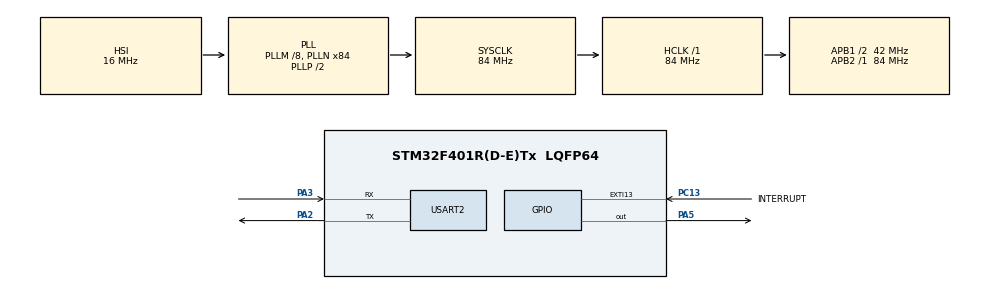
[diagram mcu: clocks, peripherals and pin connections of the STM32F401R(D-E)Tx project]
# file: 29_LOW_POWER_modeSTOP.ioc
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Mcu.Family=STM32F4
Mcu.Name=STM32F401R(D-E)Tx
Mcu.Package=LQFP64
NVIC.EXTI15_10_IRQn=true\:0\:0\:false\:false\:true\:true\:true\:true
NVIC.PriorityGroup=NVIC_PRIORITYGROUP_4
NVIC.USART2_IRQn=true\:0\:0\:false\:false\:true\:true\:true\:true
PA13.Mode=Serial_Wire
PA13.Signal=SYS_JTMS-SWDIO
PA14.Mode=Serial_Wire
PA14.Signal=SYS_JTCK-SWCLK
PA2.Mode=Asynchronous
PA2.Signal=USART2_TX
PA3.Mode=Asynchronous
PA3.Signal=USART2_RX
PA5.Signal=GPIO_Output
PC13-ANTI_TAMP.GPIO_Label=INTERRUPT
PC13-ANTI_TAMP.GPIO_ModeDefaultEXTI=GPIO_MODE_IT_FALLING
PC13-ANTI_TAMP.GPIO_PuPd=GPIO_PULLUP
PC13-ANTI_TAMP.Signal=GPXTI13
PH0\ -\ OSC_IN.Mode=HSE-External-Clock-Source
PH0\ -\ OSC_IN.Signal=RCC_OSC_IN
PH1\ -\ OSC_OUT.Mode=HSE-External-Clock-Source
PH1\ -\ OSC_OUT.Signal=RCC_OSC_OUT
ProjectManager.HeapSize=0x200
ProjectManager.StackSize=0x400
ProjectManager.TargetToolchain=STM32CubeIDE
RCC.48MHZClocksFreq_Value=42000000
RCC.AHBFreq_Value=84000000
RCC.APB1CLKDivider=RCC_HCLK_DIV2
RCC.APB1Freq_Value=42000000
RCC.APB1TimFreq_Value=84000000
RCC.APB2Freq_Value=84000000
RCC.APB2TimFreq_Value=84000000
RCC.CortexFreq_Value=84000000
RCC.HCLKFreq_Value=84000000
RCC.HSE_VALUE=8000000
RCC.HSI_VALUE=16000000
RCC.LSE_VALUE=32768
RCC.PLLM=8
RCC.PLLN=84
RCC.SYSCLKFreq_VALUE=84000000
RCC.SYSCLKSource=RCC_SYSCLKSOURCE_PLLCLK
RCC.VCOOutputFreq_Value=168000000
USART2.VirtualMode=VM_ASYNC
board=custom

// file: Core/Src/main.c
/* USER CODE BEGIN Header */
/**
  ******************************************************************************
  * @file           : main.c
  * @brief          : Main program body
  ******************************************************************************
  * @attention
  *
  * Copyright (c) 2024 STMicroelectronics.
  * All rights reserved.
  *
  * This software is licensed under terms that can be found in the LICENSE file
  * in the root directory of this software component.
  * If no LICENSE file comes with this software, it is provided AS-IS.
  *
  ******************************************************************************
  */
/* USER CODE END Header */
#include "main.h"
#include "usart.h"
#include "gpio.h"

/* USER CODE BEGIN Includes */
#include "string.h"
#include <stdio.h>
#include "stdbool.h"
/* USER CODE END Includes */

/* USER CODE BEGIN PV */
uint8_t * MSG_Stop1 = {0};
uint8_t * MSG_Stop2 = {0};
bool Bandera = false;
uint8_t rx;
/* USER CODE END PV */

void SystemClock_Config(void);

int main(void)
{

  /* MCU Configuration--------------------------------------------------------*/

  /* Reset of all peripherals, Initializes the Flash interface and the Systick. */
  HAL_Init();

  /* Configure the system clock */
  SystemClock_Config();

  /* Initialize all configured peripherals */
  MX_GPIO_Init();
  MX_USART2_UART_Init();
  /* USER CODE BEGIN 2 */

  //EL MODO STOP SOLO FUNCIONA CON LAS INTERRUPCIONES EXTI
  for(uint8_t var = 0; var <20; ++var){
	  	  GPIOA->ODR ^= (1<<5);
	  	  HAL_Delay(200);
	  	}

   MSG_Stop1 = "entrando al MODO STOP zzz en 5 segunodos\n\r";
   HAL_UART_Transmit(&huart2, MSG_Stop1, strlen(MSG_Stop1),HAL_MAX_DELAY);
   HAL_Delay(5000);

  /* USER CODE END 2 */

  /* Infinite loop */
  /* USER CODE BEGIN WHILE */
  while (1)
  {

	  //Suspende todo modo STOP
	HAL_SuspendTick(); //deshabilitamos el systick timer
	GPIOA->ODR &= ~(1<<5);

	HAL_PWR_EnterSTOPMode(PWR_LOWPOWERREGULATOR_ON, PWR_SLEEPENTRY_WFI); //WFI (waif for interrupt), despierta mediante una interrupcion

	SystemClock_Config(); //activamos todos los clock del sistema
	HAL_ResumeTick(); // activamos el systick timer
	MSG_Stop2 = "Despertando del STOP Mode con el STM32F4:D\n\r";
	HAL_UART_Transmit(&huart2, MSG_Stop2, strlen(MSG_Stop2),HAL_MAX_DELAY);

	for(uint8_t var = 0; var <20; ++var){
	  GPIOA->ODR ^= (1<<5);
	  HAL_Delay(1000);
	}

    /* USER CODE END WHILE */

  }
}

void SystemClock_Config(void)
{
  RCC_OscInitTypeDef RCC_OscInitStruct = {0};
  RCC_ClkInitTypeDef RCC_ClkInitStruct = {0};

  /** Configure the main internal regulator output voltage
  */
  __HAL_RCC_PWR_CLK_ENABLE();
  __HAL_PWR_VOLTAGESCALING_CONFIG(PWR_REGULATOR_VOLTAGE_SCALE2);

  /** Initializes the RCC Oscillators according to the specified parameters
  * in the RCC_OscInitTypeDef structure.
  */
  RCC_OscInitStruct.OscillatorType = RCC_OSCILLATORTYPE_HSI;
  RCC_OscInitStruct.HSIState = RCC_HSI_ON;
  RCC_OscInitStruct.HSICalibrationValue = RCC_HSICALIBRATION_DEFAULT;
  RCC_OscInitStruct.PLL.PLLState = RCC_PLL_ON;
  RCC_OscInitStruct.PLL.PLLSource = RCC_PLLSOURCE_HSI;
  RCC_OscInitStruct.PLL.PLLM = 8;
  RCC_OscInitStruct.PLL.PLLN = 84;
  RCC_OscInitStruct.PLL.PLLP = RCC_PLLP_DIV2;
  RCC_OscInitStruct.PLL.PLLQ = 4;
  if (HAL_RCC_OscConfig(&RCC_OscInitStruct) != HAL_OK)
  {
    Error_Handler();
  }

  /** Initializes the CPU, AHB and APB buses clocks
  */
  RCC_ClkInitStruct.ClockType = RCC_CLOCKTYPE_HCLK|RCC_CLOCKTYPE_SYSCLK
                              |RCC_CLOCKTYPE_PCLK1|RCC_CLOCKTYPE_PCLK2;
  RCC_ClkInitStruct.SYSCLKSource = RCC_SYSCLKSOURCE_PLLCLK;
  RCC_ClkInitStruct.AHBCLKDivider = RCC_SYSCLK_DIV1;
  RCC_ClkInitStruct.APB1CLKDivider = RCC_HCLK_DIV2;
  RCC_ClkInitStruct.APB2CLKDivider = RCC_HCLK_DIV1;

  if (HAL_RCC_ClockConfig(&RCC_ClkInitStruct, FLASH_LATENCY_2) != HAL_OK)
  {
    Error_Handler();
  }
}

/* USER CODE BEGIN 4 */

void HAL_GPIO_EXTI_Callback(uint16_t GPIO_Pin)
{
	Bandera = true;

}

/* USER CODE END 4 */

void Error_Handler(void)
{
  __disable_irq();
  while (1)
  {
  }
}
